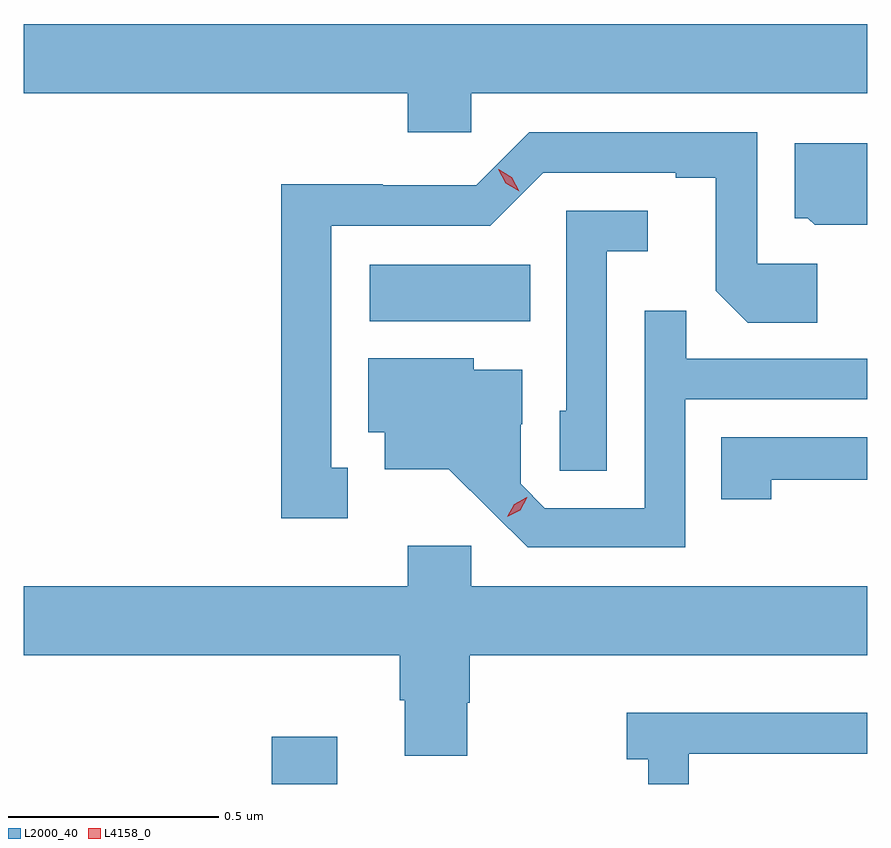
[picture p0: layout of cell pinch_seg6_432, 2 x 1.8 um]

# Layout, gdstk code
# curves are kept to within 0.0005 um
import gdstk
lib = gdstk.Library(unit=1e-6, precision=1e-09)
def R(c, l, rs):  # rectangles x0, y0, x1, y1
    for r in rs: c.add(gdstk.rectangle(r[:2], r[2:], *l))
def P(c, l, *ps):  # polygons
    for p in ps: c.add(gdstk.Polygon(p, *l))
L2000_40 = (2000, 40)
L4158_0 = (4158, 0)

pinch_seg6_432 = lib.new_cell('pinch_seg6_432')
R(pinch_seg6_432, L2000_40, [(689.701,935.043,689.857,935.155), (689.934,936.14,690.314,936.274)])
P(pinch_seg6_432, L2000_40, [(690.174,936.68),(691.113,936.68),(691.113,936.844),(689.113,936.844),(689.113,936.68),(690.023,936.68),(690.023,936.587),(690.174,936.587)],
  [(689.881,935.793),(689.842,935.793),(689.842,936.366),(690.219,936.366),(690.345,936.492),(690.659,936.492),(690.659,936.48),(690.753,936.48),(690.753,936.212),(690.829,936.136),(690.994,936.136),(690.994,936.276),(690.852,936.276),(690.852,936.588),(690.312,936.588),(690.186,936.462),(689.964,936.462),(689.964,936.464),(689.724,936.464),(689.724,935.673),(689.881,935.673)],
  [(691.113,936.562),(690.941,936.562),(690.941,936.384),(690.972,936.384),(690.988,936.368),(691.113,936.368)],
  [(690.495,936.305),(690.592,936.305),(690.592,936.402),(690.399,936.402),(690.399,935.928),(690.384,935.928),(690.384,935.785),(690.495,935.785)],
  [(690.681,935.955),(691.113,935.955),(691.113,936.051),(690.683,936.051),(690.683,936.164),(690.585,936.164),(690.585,935.697),(690.348,935.697),(690.291,935.754),(690.291,935.896),(690.295,935.896),(690.295,936.025),(690.18,936.025),(690.18,936.052),(689.93,936.052),(689.93,935.876),(689.969,935.876),(689.969,935.789),(690.121,935.789),(690.308,935.604),(690.681,935.604)],
  [(690.885,935.764),(691.113,935.764),(691.113,935.865),(690.766,935.865),(690.766,935.718),(690.885,935.718)],
  [(690.165,935.235),(690.17,935.235),(690.17,935.348),(691.113,935.348),(691.113,935.512),(690.174,935.512),(690.174,935.608),(690.023,935.608),(690.023,935.512),(689.113,935.512),(689.113,935.348),(690.005,935.348),(690.005,935.242),(690.017,935.242),(690.017,935.11),(690.165,935.11)],
  [(690.69,935.115),(691.113,935.115),(691.113,935.212),(690.543,935.212),(690.543,935.102),(690.594,935.102),(690.594,935.043),(690.69,935.043)])
P(pinch_seg6_432, L4158_0, [(690.288,936.448),(690.256,936.467),(690.238,936.5),(690.238,936.5),(690.239,936.5),(690.27,936.481),(690.288,936.448),(690.288,936.448)],
  [(690.259,935.676),(690.259,935.676),(690.276,935.706),(690.306,935.722),(690.307,935.722),(690.307,935.722),(690.29,935.692),(690.259,935.676)])

lib.write_gds('pinch_seg6_432.gds')
